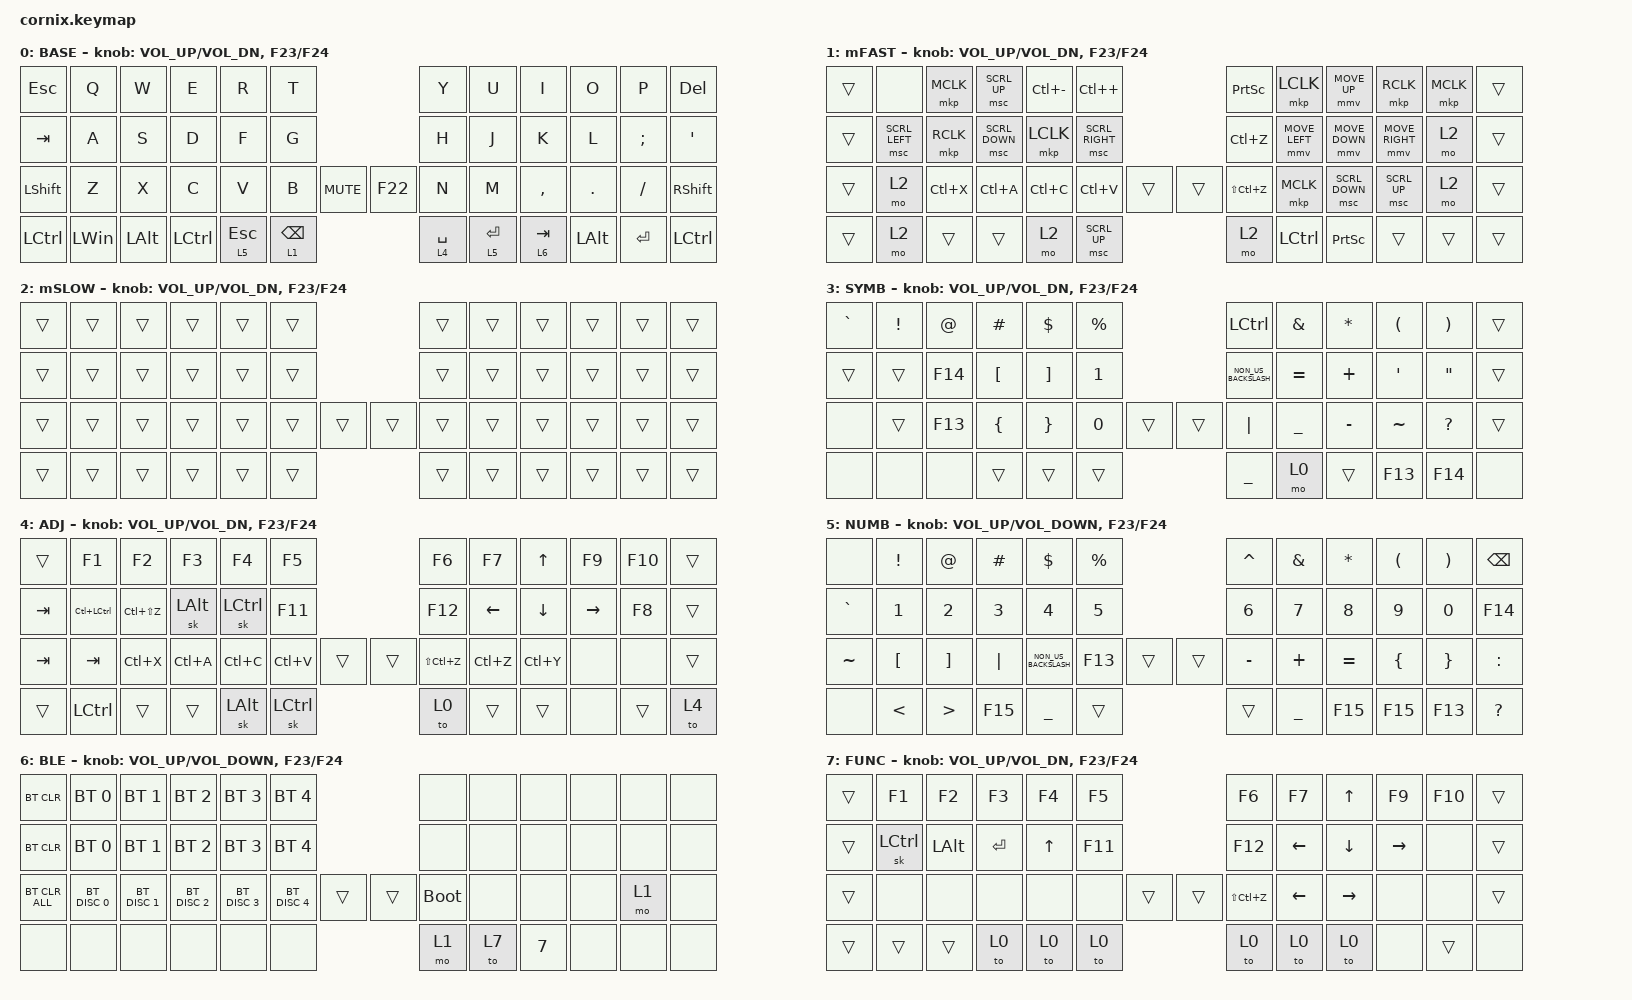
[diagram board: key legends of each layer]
/*
 * Copyright (c) 2020 The ZMK Contributors
 *
 * SPDX-License-Identifier: MIT
 */

#include "zmk-helpers/helper.h"
#include "includes/cornix54.h"

// tap windows for ctl alt and gui

#define HM_TAPPING_TERM 250
#define HM_TAPPING_REPEAT 210

// quick tapping for shift

#define ZMK_POINTING_DEFAULT_MOVE_VAL 1000
#define ZMK_POINTING_DEFAULT_SCRL_VAL 500
#define HM_TAPPING_TERM_FAST 200
#define HM_PRIOR_IDLE 70
#define BASE 0
#define WIN 1
#define LOWER 2
#define RAISE 3
#define ADJUST 4
#define NAVI   5
#define NUM    6
#define DEBUG  7

// https://github.com/urob/zmk-config/tree/main#timeless-homerow-mods

#define KEYS_L LT0 LT1 LT2 LT3 LT4 LT5 LM0 LM1 LM2 LM3 LM4 LM5 LB0 LB1 LB2 LB3 LB4 LB5  // left hand
#define KEYS_R RT0 RT1 RT2 RT3 RT4 RT5 RM0 RM1 RM2 RM3 RM4 RM5 RB0 RB1 RB2 RB3 RB4 RB5  // right hand
#define THUMBS LH1 LH0 RH0 RH1
#define KEYS_T LH1 LH0 RH0 RH1
#define ZMK_POINTING_DEFAULT_SCRL_VAL 15

#include <zephyr/dt-bindings/input/input-event-codes.h>
#include <behaviors.dtsi>
#include <dt-bindings/zmk/bt.h>
#include <dt-bindings/zmk/keys.h>
#include <dt-bindings/zmk/pointing.h>

/ {
    /* 스크롤 스케일러 */

    zip_scroll_scaler: zip_scroll_scaler {
        compatible = "zmk,input-processor-scaler";
        #input-processor-cells = <2>;
        type = <INPUT_EV_REL>;
        codes = <INPUT_REL_WHEEL INPUT_REL_HWHEEL>;
        track-remainders;
    };

    /* 방금 추가한 마우스 XY 스케일러 */

    zip_xy_scaler: zip_xy_scaler {
        compatible = "zmk,input-processor-scaler";
        #input-processor-cells = <2>;
        type = <INPUT_EV_REL>;
        codes = <INPUT_REL_X INPUT_REL_Y>;
    };
}; // <--- ★★★ 여기 세미콜론(;)과 괄호(})가 반드시 있어야 합니다!
&mmv_input_listener {
    /* 레이어 2일 때는 1/5로 줄여라! */

    layer_slow {
        layers = <2>;
        input-processors = <&zip_xy_scaler 35 100>;
    };

    /* 레이어 1일 때는 3/2(1.5배)로 늘려라! */

    layer_fast {
        layers = <1>;
        input-processors = <&zip_xy_scaler 1563 1000>;
    };
};

/* 2. ★추가됨★ 스크롤 리스너 (Layer 2 -> 1/5 감속) */

&msc_input_listener {
    /* 기본은 1:1 (위 define값 40 사용) */

    input-processors = <&zip_scroll_scaler 4 1>;

    /* Layer 2가 켜지면 스크롤도 정밀하게 (1/5 속도) */

    layer_sniper_scroll {
        layers = <2>;
        input-processors = <&zip_scroll_scaler 2 4>;
    };
};

&msc {
    acceleration-exponent = <2>;      // 0
    time-to-max-speed-ms = <0>;       // 300
    delay-ms = <0>;                   // 0
};

&mmv {
    time-to-max-speed-ms = <0>;
    acceleration-exponent = <2>;
};

/ {
    scroll_encoder: scroll_encoder {
        compatible = "zmk,behavior-sensor-rotate";
        #sensor-binding-cells = <0>;
        bindings = <&msc SCRL_DOWN>, <&msc SCRL_UP>;

        tap-ms = <30>;
    };

    // Activate ADJUST layer by pressing raise and lower

    behaviors {
        hm_l: homerow_mods_left {
            compatible = "zmk,behavior-hold-tap";
            #binding-cells = <2>;
            bindings = <&kp>, <&kp>;

            flavor = "balanced";
            tapping-term-ms = <HM_TAPPING_TERM>;
            quick-tap-ms = <150>;                // repeat on tap-into-hold
            require-prior-idle-ms = <HM_PRIOR_IDLE>;
            hold-trigger-key-positions = <KEYS_R KEYS_T>;
            hold-trigger-on-release;
        };

        hm_r: homerow_mods_right {
            compatible = "zmk,behavior-hold-tap";
            #binding-cells = <2>;
            bindings = <&kp>, <&kp>;

            flavor = "balanced";
            tapping-term-ms = <HM_TAPPING_TERM>;
            quick-tap-ms = <150>;
            require-prior-idle-ms = <HM_PRIOR_IDLE>;
            hold-trigger-key-positions = <KEYS_L KEYS_T>;
            hold-trigger-on-release;
        };

        // Positional Homerow mods for shift
        // Use faster tapping term and disable some features that may
        // cause false negatives.

        hm_shift_l: hm_shift_l {
            compatible = "zmk,behavior-hold-tap";
            #binding-cells = <2>;
            bindings = <&kp>, <&kp>;

            //flavor = "balanced";

            flavor = "balanced";
            tapping-term-ms = <HM_TAPPING_TERM_FAST>;
            quick-tap-ms = <150>;
            require-prior-idle-ms = <HM_PRIOR_IDLE>;
            hold-trigger-key-positions = <KEYS_R KEYS_T>;
            hold-trigger-on-release;
        };

        hm_shift_r: hm_shift_r {
            compatible = "zmk,behavior-hold-tap";
            #binding-cells = <2>;
            bindings = <&kp>, <&kp>;

            flavor = "balanced";
            tapping-term-ms = <HM_TAPPING_TERM_FAST>;
            quick-tap-ms = <150>;
            require-prior-idle-ms = <HM_PRIOR_IDLE>;
            hold-trigger-key-positions = <KEYS_L KEYS_T>;

            // for quick tapping; shift+~

            hold-trigger-on-release;
        };

        /*
         * Non-Positional Homerow Mods
         * Used for &mm_grescm_gui behavior on left hand.
         *
         * Usage: &hm LSHFT T
         * Tap: T
         * Tap-Tap-Hold: Repeat T
         * Hold: LSHIFT
         */

        hm: homerow_mods {
            compatible = "zmk,behavior-hold-tap";
            #binding-cells = <2>;
            bindings = <&kp>, <&kp>;

            flavor = "hold-preferred";
            tapping-term-ms = <HM_TAPPING_TERM>;
            quick-tap-ms = <160>;
        };

        lt: layer_tap {
            compatible = "zmk,behavior-hold-tap";
            #binding-cells = <2>;
            bindings = <&mo>, <&kp>;

            flavor = "tap-preferred";
            tapping-term-ms = <HM_TAPPING_TERM>;
            quick-tap-ms = <170>;
            require-prior-idle-ms = <125>;
            retro-tap;
            hold-trigger-key-positions = <6 7 8 9 11 10 18 19 20 21 22 31 32 33 34 35 36 23 23 37 49 44 45 46 47 48>;
        };

        lt_layer: lt_layer {
            compatible = "zmk,behavior-hold-tap";
            #binding-cells = <2>;
            bindings = <&mo>, <&kp>;

            flavor = "hold-preferred";
            tapping-term-ms = <200>;
            quick-tap-ms = <200>;
            label = "LT_LAYER";
        };

        lt_left: lt_left {
            compatible = "zmk,behavior-hold-tap";
            #binding-cells = <2>;
            bindings = <&mo>, <&kp>;

            flavor = "tap-preferred";
            tapping-term-ms = <HM_TAPPING_TERM>;
            quick-tap-ms = <170>;
            require-prior-idle-ms = <125>;
            retro-tap;
            label = "LT_LEFT";
            hold-trigger-key-positions = <0 1 2 4 5 3 0 1 2 4 5 12 13 14 15 16 17 24 25 26 27 28 29 38 39 40 41 42 43 30>;
        };

        lt_for_space: lt_for_space {
            compatible = "zmk,behavior-hold-tap";
            #binding-cells = <2>;
            bindings = <&mo>, <&kp>;

            flavor = "balanced";
            tapping-term-ms = <190>;
            quick-tap-ms = <160>;
            label = "LT_FOR_SPACE";
        };

        lt_for_space2: lt_for_space2 {
            compatible = "zmk,behavior-hold-tap";
            #binding-cells = <2>;
            bindings = <&mo>, <&kp>;

            flavor = "tap-preferred";
            tapping-term-ms = <HM_TAPPING_TERM>;
            quick-tap-ms = <170>;
            require-prior-idle-ms = <125>;
            retro-tap;
            label = "LT_FOR_SPACE2";
        };
    };

    conditional_layers { compatible = "zmk,conditional-layers"; };

    combos {
        compatible = "zmk,combos";

        toKorEng2 {
            bindings = <&kp RIGHT_ALT>;
            key-positions = <49 44>;
        };

        tke3 {
            bindings = <&kp RIGHT_ALT>;
            key-positions = <44 37>;
        };

        tke5 {
            bindings = <&kp RIGHT_ALT>;
            key-positions = <43 24>;
        };

        comma {
            bindings = <&kp F16>;
            key-positions = <35 36>;
        };

        kte {
            bindings = <&kp RIGHT_ALT>;
            key-positions = <45 36>;
        };

        ssee {
            bindings = <&to 1>;
            key-positions = <42 24>;
            layers = <0>;
        };

        eesszkl {
            bindings = <&to 0>;
            key-positions = <42 24>;
            layers = <1 2>;
        };

        hy {
            bindings = <&kp RIGHT_ALT>;
            key-positions = <45 35>;
        };

        hy2 {
            bindings = <&kp RIGHT_ALT>;
            key-positions = <45 48>;
        };

        hy3 {
            bindings = <&kp RIGHT_ALT>;
            key-positions = <48 44>;
        };

        hy4 {
            bindings = <&kp RIGHT_ALT>;
            key-positions = <45 49>;
        };

        hy5 {
            bindings = <&kp RIGHT_ALT>;
            key-positions = <44 36>;
        };

        hy6 {
            bindings = <&kp RIGHT_ALT>;
            key-positions = <21 45>;
        };

        bacc {
            bindings = <&kp RIGHT_ALT>;
            key-positions = <36 21>;
        };
    };

    keymap {
        compatible = "zmk,keymap";

        default_layer {
            display-name = "BASE";

            // ------------------------------------------------------------------------------------------------------------
            // |   `   |  1  |  2  |  3   |  4   |  5   |                   |  6   |  7    |  8    |  9   |   0   |       |
            // |  ESC  |  Q  |  W  |  E   |  R   |  T   |                   |  Y   |  U    |  I    |  O   |   P   | BKSPC |
            // |  TAB  |  A  |  S  |  D   |  F   |  G   |                   |  H   |  J    |  K    |  L   |   ;   |   '   |
            // | SHIFT |  Z  |  X  |  C   |  V   |  B   |  MUTE  |  |       |  N   |  M    |  ,    |  .   |   /   | SHIFT |
            //               | GUI | ALT  | CTRL | LOWER|  ENTER |  | SPACE | RAISE| CTRL  | ALT   | GUI  |

            bindings = <
&kp ESCAPE        &kp Q         &kp W         &kp E             &kp R               &kp T                                       &kp Y                  &kp U              &kp I            &kp O         &kp P          &kp DELETE
&kp TAB           &kp A         &kp S         &kp D             &kp F               &kp G                                       &kp H                  &kp J              &kp K            &kp L         &kp SEMICOLON  &kp SQT
&kp LEFT_SHIFT    &kp Z         &kp X         &kp C             &kp V               &kp B                  &kp C_MUTE  &kp F22  &kp N                  &kp M              &kp COMMA        &kp DOT       &kp SLASH      &kp RSHFT
&kp LEFT_CONTROL  &kp LEFT_WIN  &kp LEFT_ALT  &kp LEFT_CONTROL  &lt_layer 5 ESCAPE  &lt_layer 1 BACKSPACE                       &lt_for_space 4 SPACE  &lt_layer 5 ENTER  &lt_layer 6 TAB  &kp LEFT_ALT  &kp RETURN     &kp LEFT_CONTROL
            >;

            sensor-bindings =
                <&inc_dec_kp C_VOL_UP C_VOL_DN>,
                <&inc_dec_kp F23 F24>;
        };

        mouse_fast {
            display-name = "mFAST";

            // ------------------------------------------------------------------------------------------------------------
            // |   `   |  1  |  2  |  3   |  4   |  5   |                   |  6   |  7    |  8    |  9   |   0   |       |
            // |  ESC  |  Q  |  W  |  E   |  R   |  T   |                   |  Y   |  U    |  I    |  O   |   P   | BKSPC |
            // |  TAB  |  A  |  S  |  D   |  F   |  G   |                   |  H   |  J    |  K    |  L   |   ;   |   '   |
            // | SHIFT |  Z  |  X  |  C   |  V   |  B   |  MUTE  |  |       |  N   |  M    |  ,    |  .   |   /   | SHIFT |
            //               | GUI | ALT  | CTRL | LOWER|  ENTER |  | SPACE | RAISE| CTRL  | ALT   | GUI  |

            bindings = <
&trans  &none           &mkp MCLK  &msc SCRL_UP    &kp LC(MINUS)  &kp LC(PLUS)                     &kp PRINTSCREEN  &mkp LCLK         &mmv MOVE_UP     &mkp RCLK        &mkp MCLK  &trans
&trans  &msc SCRL_LEFT  &mkp RCLK  &msc SCRL_DOWN  &mkp LCLK      &msc SCRL_RIGHT                  &kp LC(Z)        &mmv MOVE_LEFT    &mmv MOVE_DOWN   &mmv MOVE_RIGHT  &mo 2      &trans
&trans  &mo 2           &kp LC(X)  &kp LC(A)       &kp LC(C)      &kp LC(V)        &trans  &trans  &kp LS(LC(Z))    &mkp MCLK         &msc SCRL_DOWN   &msc SCRL_UP     &mo 2      &trans
&trans  &mo 2           &trans     &trans          &mo 2          &msc SCRL_UP                     &mo 2            &kp LEFT_CONTROL  &kp PRINTSCREEN  &trans           &trans     &trans
            >;

            sensor-bindings =
                <&inc_dec_kp C_VOL_UP C_VOL_DN>,
                <&inc_dec_kp F23 F24>;
        };

        mouse_slow {
            display-name = "mSLOW";
            bindings = <
&trans  &trans  &trans  &trans  &trans  &trans                  &trans  &trans  &trans  &trans  &trans  &trans
&trans  &trans  &trans  &trans  &trans  &trans                  &trans  &trans  &trans  &trans  &trans  &trans
&trans  &trans  &trans  &trans  &trans  &trans  &trans  &trans  &trans  &trans  &trans  &trans  &trans  &trans
&trans  &trans  &trans  &trans  &trans  &trans                  &trans  &trans  &trans  &trans  &trans  &trans
            >;

            sensor-bindings =
                <&inc_dec_kp C_VOL_UP C_VOL_DN>,
                <&inc_dec_kp F23 F24>;
        };

        Symbol {
            display-name = "SYMB";

            // ------------------------------------------------------------------------------------------------------------
            // | BTCLR | BT1  | BT2  |  BT3  |  BT4  |  BT5 |                |      |      |       |      |       |       |
            // |       | INS  | PSCR | GUI   |       |      |                | PGUP |      |   ^   |      |       |       |
            // |       | ALT  | CTRL | SHIFT |       | CAPS |                | PGDN |   <- |   v   |  ->  |  DEL  | BKSPC |
            // |       | UNDO | CUT  | COPY  | PASTE |      |      |  |      |      |      |       |      |       |       |
            //                |      |       |       |      |      |  |      |      |      |       |      |

            bindings = <
&kp GRAVE  &kp EXCLAMATION  &kp AT_SIGN  &kp HASH          &kp DOLLAR         &kp PERCENT                  &kp LCTRL             &kp AMPERSAND   &kp ASTERISK  &kp LEFT_PARENTHESIS  &kp RIGHT_PARENTHESIS  &trans
&trans     &trans           &kp F14      &kp LEFT_BRACKET  &kp RIGHT_BRACKET  &kp N1                       &kp NON_US_BACKSLASH  &kp EQUAL       &kp PLUS      &kp SQT               &kp DQT                &trans
&none      &trans           &kp F13      &kp LEFT_BRACE    &kp RIGHT_BRACE    &kp N0       &trans  &trans  &kp PIPE              &kp UNDERSCORE  &kp MINUS     &kp TILDE             &kp QUESTION           &trans
&none      &none            &none        &trans            &trans             &trans                       &kp UNDERSCORE        &mo 0           &trans        &kp F13               &kp F14                &none
            >;

            sensor-bindings =
                <&inc_dec_kp C_VOL_UP C_VOL_DN>,
                <&inc_dec_kp F23 F24>;
        };

        Adjust_layer {
            display-name = "ADJ";
            bindings = <
&trans   &kp F1                &kp F2         &kp F3        &kp F4            &kp F5                            &kp F6         &kp F7     &kp UP_ARROW    &kp F9     &kp F10  &trans
&kp TAB  &kp LC(LEFT_CONTROL)  &kp LC(LS(Z))  &sk LEFT_ALT  &sk LEFT_CONTROL  &kp F11                           &kp F12        &kp LEFT   &kp DOWN_ARROW  &kp RIGHT  &kp F8   &trans
&kp TAB  &kp TAB               &kp LC(X)      &kp LC(A)     &kp LC(C)         &kp LC(V)         &trans  &trans  &kp LS(LC(Z))  &kp LC(Z)  &kp LC(Y)       &none      &none    &trans
&trans   &kp LEFT_CONTROL      &trans         &trans        &sk LEFT_ALT      &sk LEFT_CONTROL                  &to 0          &trans     &trans          &none      &trans   &to 4
            >;

            sensor-bindings =
                <&inc_dec_kp C_VOL_UP C_VOL_DN>,
                <&inc_dec_kp F23 F24>;
        };

        numbers {
            display-name = "NUMB";

            // ----------------------------------------------------------------------------------------------------------------------------
            // | BTCLR  |  BT1    |  BT2    |   BT3   |   BT4   |   BT5   |                  |      |      |       |      |       |       |
            // | moDEBUG| RGB_HUD | RGB_HUI | RGB_SAD | RGB_SAI | RGB_EFF |                  |      |      |       |      |       |       |
            // | EXTPWR | RGB_BRD | RGB_BRI |         |         |         |                  |      |      |       |      |       |       |
            // |        |         |         |         |         |         | RGB_TOG | |      |      |      |       |      |       |       |
            //                    |         |         |         |         |         | |      |      |      |       |      |

            bindings = <
&none      &kp EXCLAMATION   &kp AT_SIGN        &kp HASH      &kp DOLLAR            &kp PERCENT                  &kp CARET     &kp AMPERSAND  &kp ASTERISK  &kp LEFT_PARENTHESIS  &kp RIGHT_PARENTHESIS  &kp BACKSPACE
&kp GRAVE  &kp NUMBER_1      &kp NUMBER_2       &kp NUMBER_3  &kp NUMBER_4          &kp N5                       &kp NUMBER_6  &kp N7         &kp NUMBER_8  &kp N9                &kp N0                 &kp F14
&kp TILDE  &kp LEFT_BRACKET  &kp RIGHT_BRACKET  &kp PIPE      &kp NON_US_BACKSLASH  &kp F13      &trans  &trans  &kp MINUS     &kp PLUS       &kp EQUAL     &kp LEFT_BRACE        &kp RIGHT_BRACE        &kp COLON
&none      &kp LESS_THAN     &kp GREATER_THAN   &kp F15       &kp UNDER             &trans                       &trans        &kp UNDER      &kp F15       &kp F15               &kp F13                &kp QUESTION
            >;

            sensor-bindings =
                <&inc_dec_kp C_VOLUME_UP C_VOLUME_DOWN>,
                <&inc_dec_kp F23 F24>;
        };

        Bluetooth {
            display-name = "BLE";

            // ----------------------------------------------------------------------------------------------------------------------------
            // | BTCLR  |  BT1    |  BT2    |   BT3   |   BT4   |   BT5   |                  |      |      |       |      |       |       |
            // | EXTPWR | BTCLR | RGB_HUI | RGB_SAD | RGB_SAI | RGB_EFF |                  |      |      |       |      |       |       |
            // |        | RGB_BRD | RGB_BRI |         |         |         |                  |      |      |       |      |       |       |
            // |        |         |         |         |         |         | RGB_TOG | |      |      |      |       |      |       |       |
            //                    |         |         |         |         |         | |      |      |      |       |      |

            bindings = <
&bt BT_CLR      &bt BT_SEL 0   &bt BT_SEL 1   &bt BT_SEL 2   &bt BT_SEL 3   &bt BT_SEL 4                   &none        &none  &none   &none  &none  &none
&bt BT_CLR      &bt BT_SEL 0   &bt BT_SEL 1   &bt BT_SEL 2   &bt BT_SEL 3   &bt BT_SEL 4                   &none        &none  &none   &none  &none  &none
&bt BT_CLR_ALL  &bt BT_DISC 0  &bt BT_DISC 1  &bt BT_DISC 2  &bt BT_DISC 3  &bt BT_DISC 4  &trans  &trans  &bootloader  &none  &none   &none  &mo 1  &none
&none           &none          &none          &none          &none          &none                          &mo 1        &to 7  &kp N7  &none  &none  &none
            >;

            sensor-bindings =
                <&inc_dec_kp C_VOLUME_UP C_VOLUME_DOWN>,
                <&inc_dec_kp F23 F24>;
        };

        Function {
            display-name = "FUNC";
            bindings = <
&trans  &kp F1            &kp F2        &kp F3     &kp F4        &kp F5                   &kp F6         &kp F7    &kp UP          &kp F9     &kp F10  &trans
&trans  &sk LEFT_CONTROL  &kp LEFT_ALT  &kp ENTER  &kp UP_ARROW  &kp F11                  &kp F12        &kp LEFT  &kp DOWN_ARROW  &kp RIGHT  &none    &trans
&trans  &none             &none         &none      &none         &none    &trans  &trans  &kp LS(LC(Z))  &kp LEFT  &kp RIGHT       &none      &none    &trans
&trans  &trans            &trans        &to 0      &to 0         &to 0                    &to 0          &to 0     &to 0           &none      &trans   &none
            >;

            sensor-bindings =
                <&inc_dec_kp C_VOL_UP C_VOL_DN>,
                <&inc_dec_kp F23 F24>;
        };
    };
};
